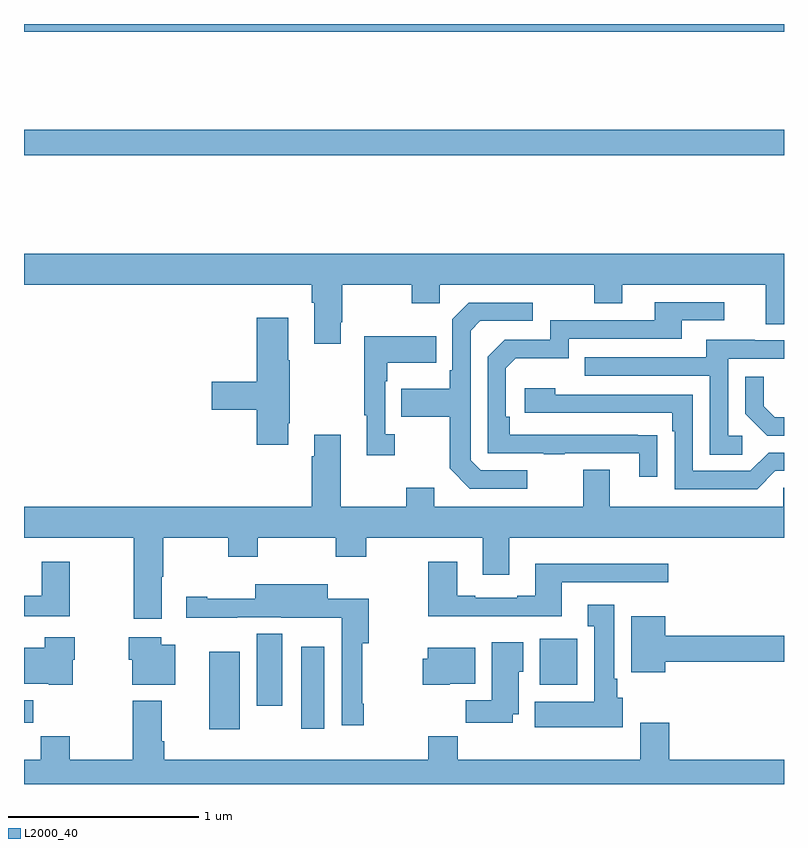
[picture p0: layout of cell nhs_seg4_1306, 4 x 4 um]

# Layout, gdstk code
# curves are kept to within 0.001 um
import gdstk
lib = gdstk.Library(unit=1e-6, precision=1e-09)
def R(c, l, rs):  # rectangles x0, y0, x1, y1
    for r in rs: c.add(gdstk.rectangle(r[:2], r[2:], *l))
def P(c, l, *ps):  # polygons
    for p in ps: c.add(gdstk.Polygon(p, *l))
L2000_40 = (2000, 40)

nhs_seg4_1306 = lib.new_cell('nhs_seg4_1306')
R(nhs_seg4_1306, L2000_40, [(179.975,753.189,180.136,753.595), (180.458,753.192,180.58,753.622), (179,753.222,179.048,753.34), (180.224,753.312,180.358,753.691), (181.715,753.422,181.912,753.664), (179,756.208,183,756.344), (179,756.86,183,756.9)])
P(nhs_seg4_1306, L2000_40, [(180.667,755.329),(180.675,755.329),(180.675,755.528),(181.042,755.528),(181.042,755.429),(181.188,755.429),(181.188,755.528),(182.002,755.528),(182.002,755.429),(182.149,755.429),(182.149,755.528),(182.903,755.528),(182.903,755.32),(183,755.32),(183,755.692),(179,755.692),(179,755.528),(180.515,755.528),(180.515,755.432),(180.527,755.432),(180.527,755.217),(180.667,755.217)],
  [(182.333,754.736),(181.556,754.737),(181.556,754.834),(181.536,754.834),(181.536,755.088),(181.589,755.141),(181.866,755.141),(181.866,755.244),(182.461,755.244),(182.461,755.34),(182.686,755.34),(182.686,755.436),(182.321,755.436),(182.321,755.34),(181.77,755.34),(181.77,755.238),(181.53,755.238),(181.44,755.148),(181.44,754.641),(181.735,754.641),(181.735,754.636),(181.847,754.636),(181.847,754.641),(182.237,754.641),(182.237,754.518),(182.333,754.518)],
  [(181.648,754.551),(181.404,754.551),(181.35,754.605),(181.35,755.286),(181.401,755.337),(181.678,755.337),(181.678,755.433),(181.341,755.433),(181.254,755.346),(181.254,755.077),(181.242,755.077),(181.242,754.981),(180.985,754.981),(180.985,754.834),(181.242,754.834),(181.242,754.561),(181.347,754.455),(181.648,754.455)],
  [(180.391,754.798),(180.399,754.798),(180.399,755.129),(180.391,755.129),(180.391,755.353),(180.224,755.353),(180.224,755.018),(179.988,755.018),(179.988,754.871),(180.224,754.871),(180.224,754.686),(180.391,754.686)],
  [(180.952,754.742),(180.9,754.742),(180.9,755.021),(180.913,755.021),(180.913,755.117),(181.169,755.117),(181.169,755.257),(180.792,755.257),(180.792,754.841),(180.803,754.841),(180.803,754.629),(180.952,754.629)],
  [(182.779,754.734),(182.706,754.734),(182.706,755.139),(183,755.139),(183,755.235),(182.845,755.235),(182.845,755.239),(182.591,755.239),(182.591,755.145),(181.951,755.145),(181.951,755.049),(182.61,755.049),(182.61,754.633),(182.779,754.633)],
  [(183,754.83),(182.95,754.83),(182.893,754.887),(182.893,755.044),(182.796,755.044),(182.796,754.85),(182.912,754.734),(183,754.734)],
  [(182.955,754.548),(183,754.548),(183,754.644),(182.919,754.644),(182.823,754.548),(182.52,754.548),(182.52,754.95),(181.796,754.95),(181.796,754.984),(181.635,754.984),(181.635,754.854),(182.411,754.854),(182.411,754.757),(182.424,754.757),(182.424,754.452),(182.859,754.452)],
  [(181.415,754.002),(181.555,754.002),(181.555,754.196),(183,754.196),(183,754.458),(182.997,754.458),(182.997,754.36),(182.083,754.36),(182.083,754.555),(181.943,754.555),(181.943,754.36),(181.159,754.36),(181.159,754.459),(181.012,754.459),(181.012,754.36),(180.667,754.36),(180.667,754.738),(180.527,754.738),(180.527,754.625),(180.515,754.625),(180.515,754.36),(179,754.36),(179,754.196),(179.578,754.196),(179.578,753.771),(179.725,753.771),(179.725,753.992),(179.733,753.992),(179.733,754.196),(180.076,754.196),(180.076,754.097),(180.231,754.097),(180.231,754.196),(180.64,754.196),(180.64,754.097),(180.8,754.097),(180.8,754.196),(181.415,754.196)],
  [(179.241,754.069),(179.093,754.069),(179.093,753.892),(179,753.892),(179,753.782),(179.241,753.782)],
  [(181.831,753.963),(182.392,753.963),(182.392,754.06),(181.691,754.06),(181.691,753.892),(181.595,753.892),(181.595,753.879),(181.375,753.879),(181.375,753.892),(181.279,753.892),(181.279,754.069),(181.127,754.069),(181.127,753.782),(181.831,753.782)],
  [(180.788,753.322),(180.781,753.322),(180.781,753.641),(180.815,753.641),(180.815,753.876),(180.598,753.876),(180.598,753.952),(180.218,753.952),(180.218,753.876),(179.965,753.876),(179.965,753.886),(179.853,753.886),(179.853,753.776),(180.122,753.776),(180.122,753.777),(180.354,753.777),(180.354,753.776),(180.672,753.776),(180.672,753.21),(180.788,753.21)],
  [(182.152,753.354),(182.122,753.354),(182.122,753.454),(182.107,753.454),(182.107,753.844),(181.967,753.844),(181.967,753.731),(182,753.731),(182,753.334),(181.688,753.334),(181.688,753.2),(182.152,753.2)],
  [(182.374,753.544),(183,753.544),(183,753.68),(182.374,753.68),(182.374,753.784),(182.195,753.784),(182.195,753.488),(182.374,753.488)],
  [(179.797,753.634),(179.723,753.634),(179.723,753.673),(179.552,753.673),(179.552,753.555),(179.57,753.555),(179.57,753.422),(179.797,753.422)],
  [(179.256,753.555),(179.266,753.555),(179.266,753.673),(179.108,753.673),(179.108,753.616),(179,753.616),(179,753.428),(179.13,753.428),(179.13,753.422),(179.256,753.422)],
  [(181.573,753.266),(181.603,753.266),(181.603,753.492),(181.627,753.492),(181.627,753.646),(181.463,753.646),(181.463,753.34),(181.324,753.34),(181.324,753.222),(181.573,753.222)],
  [(181.242,753.428),(181.375,753.428),(181.375,753.616),(181.124,753.616),(181.124,753.558),(181.099,753.558),(181.099,753.422),(181.242,753.422)],
  [(183,753.028),(182.396,753.028),(182.396,753.223),(182.243,753.223),(182.243,753.028),(181.283,753.028),(181.283,753.152),(181.127,753.152),(181.127,753.028),(179.738,753.028),(179.738,753.124),(179.725,753.124),(179.725,753.337),(179.573,753.337),(179.573,753.028),(179.241,753.028),(179.241,753.152),(179.089,753.152),(179.089,753.028),(179,753.028),(179,752.9),(183,752.9)])

lib.write_gds('nhs_seg4_1306.gds')
